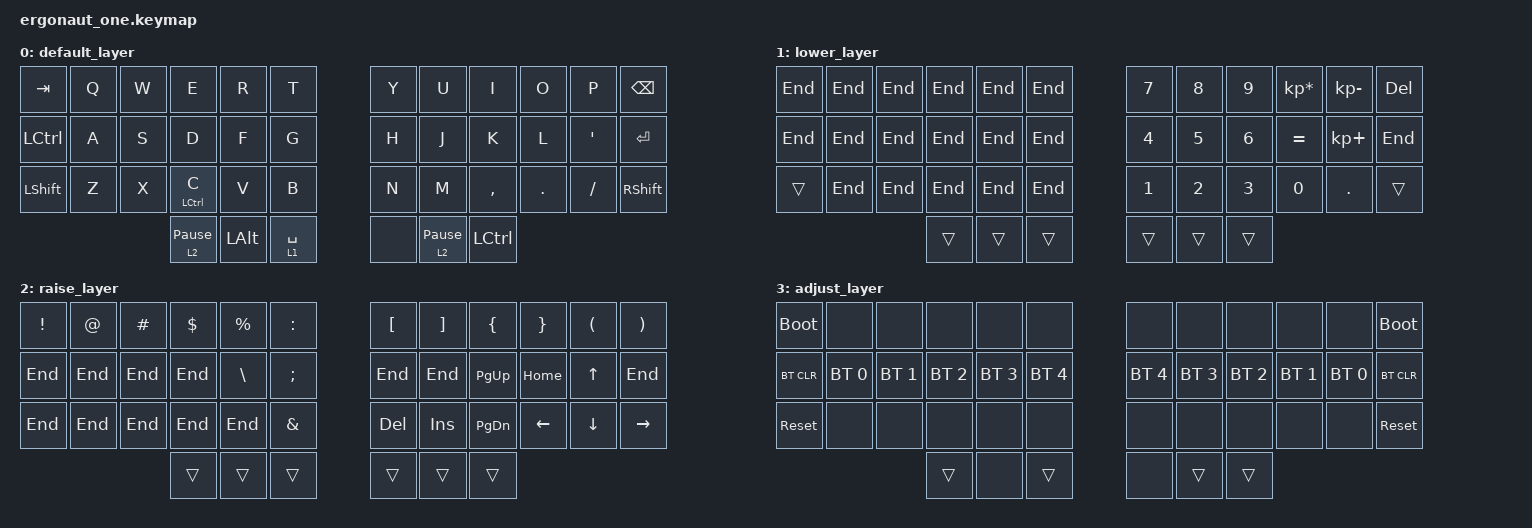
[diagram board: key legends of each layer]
#include <behaviors.dtsi>
#include <dt-bindings/zmk/bt.h>
#include <dt-bindings/zmk/keys.h>

#define DEF 0
#define LWR 1
#define RSE 2
#define ADJ 3

&lt { quick-tap-ms = <200>; };

&mt { quick-tap-ms = <200>; };

/ {
    conditional_layers {
        compatible = "zmk,conditional-layers";

        tri-layer {
            if-layers = <1 2>;
            then-layer = <3>;
        };
    };

    keymap {
        compatible = "zmk,keymap";

        default_layer {
            bindings = <
&kp TAB           &kp Q  &kp W  &kp E              &kp R         &kp T        &kp Y  &kp U              &kp I             &kp O    &kp P             &kp BACKSPACE
&kp LEFT_CONTROL  &kp A  &kp S  &kp D              &kp F         &kp G        &kp H  &kp J              &kp K             &kp L    &kp SINGLE_QUOTE  &kp RET
&kp LEFT_SHIFT    &kp Z  &kp X  &mt LCTRL C        &kp V         &kp B        &kp N  &kp M              &kp COMMA         &kp DOT  &kp FSLH          &kp RIGHT_SHIFT
                                &lt 2 PAUSE_BREAK  &kp LEFT_ALT  &lt 1 SPACE  &none  &lt 2 PAUSE_BREAK  &kp LEFT_CONTROL
            >;
        };

        lower_layer {
            bindings = <
&kp END  &kp END  &kp END  &kp END  &kp END  &kp END  &kp N7  &kp N8  &kp N9  &kp KP_MULTIPLY  &kp KP_MINUS  &kp DELETE
&kp END  &kp END  &kp END  &kp END  &kp END  &kp END  &kp N4  &kp N5  &kp N6  &kp EQUAL        &kp KP_PLUS   &kp END
&trans   &kp END  &kp END  &kp END  &kp END  &kp END  &kp N1  &kp N2  &kp N3  &kp N0           &kp DOT       &trans
                           &trans   &trans   &trans   &trans  &trans  &trans
            >;
        };

        raise_layer {
            bindings = <
&kp EXCL  &kp AT   &kp HASH  &kp DOLLAR  &kp PERCENT    &kp COLON      &kp LBKT  &kp RBKT    &kp LEFT_BRACE  &kp RIGHT_BRACE  &kp LEFT_PARENTHESIS  &kp RIGHT_PARENTHESIS
&kp END   &kp END  &kp END   &kp END     &kp BACKSLASH  &kp SEMI       &kp END   &kp END     &kp PG_UP       &kp HOME         &kp UP                &kp END
&kp END   &kp END  &kp END   &kp END     &kp END        &kp AMPERSAND  &kp DEL   &kp INSERT  &kp PG_DN       &kp LEFT         &kp DOWN              &kp RIGHT
                             &trans      &trans         &trans         &trans    &trans      &trans
            >;
        };

        adjust_layer {
            bindings = <
&bootloader  &none         &none         &none         &none         &none         &none         &none         &none         &none         &none         &bootloader
&bt BT_CLR   &bt BT_SEL 0  &bt BT_SEL 1  &bt BT_SEL 2  &bt BT_SEL 3  &bt BT_SEL 4  &bt BT_SEL 4  &bt BT_SEL 3  &bt BT_SEL 2  &bt BT_SEL 1  &bt BT_SEL 0  &bt BT_CLR
&sys_reset   &none         &none         &none         &none         &none         &none         &none         &none         &none         &none         &sys_reset
                                         &trans        &none         &trans        &none         &trans        &trans
            >;
        };
    };
};
